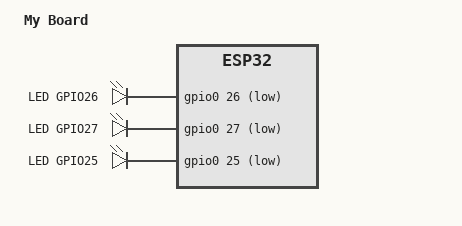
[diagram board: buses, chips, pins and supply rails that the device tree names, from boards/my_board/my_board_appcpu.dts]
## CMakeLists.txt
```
cmake_minimum_required(VERSION 3.20.0)

list(APPEND BOARD_ROOT ${CMAKE_CURRENT_SOURCE_DIR})
find_package(Zephyr REQUIRED)
project(my_zephyr_app)

zephyr_include_directories(drivers/our_driver)

target_sources(app PRIVATE src/main.cpp)
add_subdirectory(drivers/our_driver)
```

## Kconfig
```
config APP_HEARTBEAT_PERIOD_MS
    int "App Heartbeat Period (ms)"
    default 500
    range 100 2000

source "Kconfig.zephyr"
rsource "drivers/our_driver/Kconfig"
```

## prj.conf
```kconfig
CONFIG_GPIO=y
CONFIG_LOG=y
CONFIG_OUR_DRIVER=y

CONFIG_SHELL=y
CONFIG_SHELL_MINIMAL=y
```

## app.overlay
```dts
/
{
    aliases {
        app-led = &my_led;
    };

    leds {
        compatible = "gpio-leds";

        my_led: led_0 {
            gpios = <&gpio0 26 GPIO_ACTIVE_HIGH>; // connected led to pin 26 on breadboard
            label = "GPIO26 LED";
        };
    };

    our_driver0: our_driver {
        compatible = "our_driver";
        status = "okay";
    };
};

// esp 32 led app overlay
```

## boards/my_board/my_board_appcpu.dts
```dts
/dts-v1/;

#include <espressif/esp32/esp32_appcpu.dtsi>
#include <espressif/partitions_0x1000_amp.dtsi>

/ {
	model = "My Board";
	compatible = "Chrisesis,my_board";

	aliases {
		led0 = &red_led;
		led1 = &green_led;
		led2 = &blue_led;
	};

	chosen {
		zephyr,sram = &sram0;
		zephyr,flash = &flash;
		zephyr,code-partition = &slot0_partition;
	};

	leds{

		compatible = "gpio-leds";
		red_led: led_0{
			gpios = <&gpio0 26 GPIO_ACTIVE_LOW>;
			label = "LED GPIO26";
		};
		green_led: led_1 {
			gpios = <&gpio0 27 GPIO_ACTIVE_LOW>;
			label = "LED GPIO27";
		};
		blue_led: led_2 {
			gpios = <&gpio0 25 GPIO_ACTIVE_LOW>;
			label = "LED GPIO25";
		};



	};
};
	&gpio0 {
			status = "okay";
		};
```

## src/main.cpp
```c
#include <zephyr/drivers/gpio.h>
#include <zephyr/drivers/sensor.h>
#include <zephyr/kernel.h>
#include <zephyr/logging/log.h>
#include <stdio.h>
#include <our_driver.h>



#define SLEEP_TIME_MS 1000

/* The devicetree node identifier for the "app_led" alias. */




static const struct device *dev = DEVICE_DT_GET_ANY(our_driver);



LOG_MODULE_REGISTER(main, LOG_LEVEL_INF);

int main(void)
{
    bool led_state = true;
    int set_value = 0;


    if (!device_is_ready(dev)) {
        LOG_ERR("Device not ready");
        return -ENODEV;
    }
    our_driver_set_param(dev, set_value);

    while (1) {

        if (led_state)
        {
            //our_driver_set_param(dev, set_value);
            //sensor_sample_fetch(dev);
            led_state = false;
        }
        else
        {
            //our_driver_set_param(dev, set_value);
            //sensor_channel_get(dev, SENSOR_CHAN_ALL, NULL);
            led_state = true;
        }

        //set_value += 1;

        k_msleep(CONFIG_APP_HEARTBEAT_PERIOD_MS);
;
    }
    return 0;
}
```
